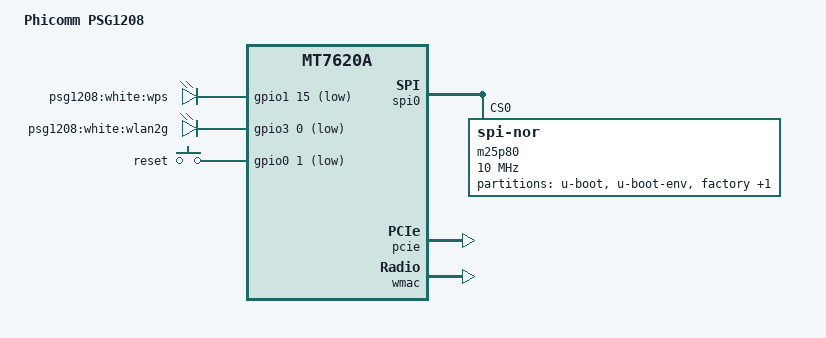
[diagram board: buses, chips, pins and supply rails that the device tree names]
/dts-v1/;

#include "mt7620a.dtsi"

/ {
	compatible = "PSG1208", "ralink,mt7620a-soc";
	model = "Phicomm PSG1208";

	gpio-leds {
		compatible = "gpio-leds";

		wan {
			label = "psg1208:white:wps";
			gpios = <&gpio1 15 1>;
		};

		wlan {
			label = "psg1208:white:wlan2g";
			gpios = <&gpio3 0 1>;
		};
	};

	gpio-keys-polled {
		compatible = "gpio-keys-polled";
		#address-cells = <1>;
		#size-cells = <0>;
		poll-interval = <20>;

		reset {
			label = "reset";
			gpios = <&gpio0 1 1>;
			linux,code = <0x198>;
		};
	};
};

&gpio1 {
	status = "okay";
};

&gpio3 {
	status = "okay";
};

&spi0 {
	status = "okay";

	m25p80@0 {
		#address-cells = <1>;
		#size-cells = <1>;
		compatible = "jedec,spi-nor";
		reg = <0>;
		linux,modalias = "m25p80", "en25q64";
		spi-max-frequency = <10000000>;

		partition@0 {
			label = "u-boot";
			reg = <0x0 0x30000>;
			read-only;
		};

		partition@20000 {
			label = "u-boot-env";
			reg = <0x30000 0x10000>;
			read-only;
		};

		factory: partition@30000 {
			label = "factory";
			reg = <0x40000 0x10000>;
			read-only;
		};

		partition@40000 {
			label = "firmware";
			reg = <0x50000 0x7b0000>;
		};
	};
};

&pinctrl {
	state_default: pinctrl0 {
		gpio {
			ralink,group = "i2c", "uartf", "rgmii1", "rgmii2", "ephy", "wled", "nd_sd";
			ralink,function = "gpio";
		};
	};
};

&ethernet {
	pinctrl-names = "default";
	pinctrl-0 = <&ephy_pins>;
	mtd-mac-address = <&factory 0x4>;
	mediatek,portmap = "llllw";
};

&pcie {
	status = "okay";

	pcie-bridge {
		mt76@0,0 {
			reg = <0x0000 0 0 0 0>;
			device_type = "pci";
			mediatek,mtd-eeprom = <&factory 0x8000>;
			mediatek,2ghz = <0>;
		};
	};
};

&wmac {
	ralink,mtd-eeprom = <&factory 0>;
};
